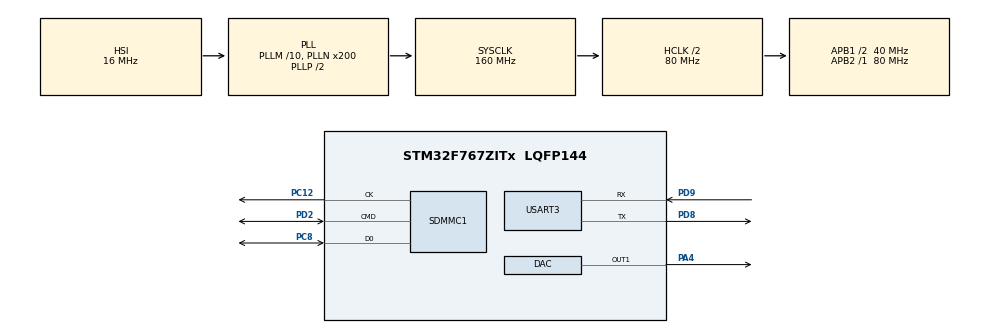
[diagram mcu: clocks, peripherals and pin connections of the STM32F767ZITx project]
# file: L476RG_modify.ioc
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Dma.DAC1.0.Direction=DMA_MEMORY_TO_PERIPH
Dma.DAC1.0.FIFOMode=DMA_FIFOMODE_DISABLE
Dma.DAC1.0.Instance=DMA1_Stream5
Dma.DAC1.0.MemDataAlignment=DMA_MDATAALIGN_HALFWORD
Dma.DAC1.0.MemInc=DMA_MINC_ENABLE
Dma.DAC1.0.Mode=DMA_NORMAL
Dma.DAC1.0.PeriphDataAlignment=DMA_PDATAALIGN_HALFWORD
Dma.DAC1.0.PeriphInc=DMA_PINC_DISABLE
Dma.DAC1.0.Priority=DMA_PRIORITY_LOW
Dma.Request0=DAC1
FATFS._USE_MKFS=1
Mcu.Family=STM32F7
Mcu.Name=STM32F767ZITx
Mcu.Package=LQFP144
NVIC.DMA1_Stream5_IRQn=true\:0\:0\:false\:false\:true\:false\:true\:true
NVIC.PriorityGroup=NVIC_PRIORITYGROUP_4
PA4.Signal=COMP_DAC1_group
PC12.Mode=SD_1_bit
PC12.Signal=SDMMC1_CK
PC8.Mode=SD_1_bit
PC8.Signal=SDMMC1_D0
PD2.Mode=SD_1_bit
PD2.Signal=SDMMC1_CMD
PD8.Mode=Asynchronous
PD8.Signal=USART3_TX
PD9.Mode=Asynchronous
PD9.Signal=USART3_RX
ProjectManager.HeapSize=0x200
ProjectManager.StackSize=0x400
ProjectManager.TargetToolchain=STM32CubeIDE
RCC.AHBCLKDivider=RCC_SYSCLK_DIV2
RCC.AHBFreq_Value=80000000
RCC.APB1CLKDivider=RCC_HCLK_DIV2
RCC.APB1Freq_Value=40000000
RCC.APB1TimFreq_Value=80000000
RCC.APB2Freq_Value=80000000
RCC.APB2TimFreq_Value=80000000
RCC.CortexFreq_Value=80000000
RCC.HCLKFreq_Value=80000000
RCC.HSE_VALUE=25000000
RCC.HSI_VALUE=16000000
RCC.LSE_VALUE=32768
RCC.PLLM=10
RCC.PLLN=200
RCC.PLLQ=8
RCC.PREFETCH_ENABLE=1
RCC.SDMMCClockSelection=RCC_SDMMC1CLKSOURCE_CLK48
RCC.SYSCLKFreq_VALUE=160000000
RCC.SYSCLKSource=RCC_SYSCLKSOURCE_PLLCLK
RCC.USBFreq_Value=40000000
RCC.VCOOutputFreq_Value=320000000
SH.COMP_DAC1_group.0=DAC_OUT1,DAC_OUT1
TIM4.Period=1813
USART3.VirtualMode-Asynchronous=VM_ASYNC
VP_FATFS_VS_SDIO.Mode=SDIO
VP_TIM4_VS_ClockSourceINT.Mode=Internal
board=custom

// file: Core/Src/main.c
/* USER CODE BEGIN Header */
/**
  ******************************************************************************
  * @file           : main.c
  * @brief          : Main program body
  ******************************************************************************
  * @attention
  *
  * Copyright (c) 2025 STMicroelectronics.
  * All rights reserved.
  *
  * This software is licensed under terms that can be found in the LICENSE file
  * in the root directory of this software component.
  * If no LICENSE file comes with this software, it is provided AS-IS.
  *
  ******************************************************************************
  */
/* USER CODE END Header */
#include "main.h"
#include "fatfs.h"

/* USER CODE BEGIN Includes */
#include "stdio.h"
#include <string.h>
#include "wav.h"
/* USER CODE END Includes */

DAC_HandleTypeDef hdac;
DMA_HandleTypeDef hdma_dac1;

SD_HandleTypeDef hsd1;

TIM_HandleTypeDef htim4;

UART_HandleTypeDef huart3;

void SystemClock_Config(void);
static void MX_GPIO_Init(void);
static void MX_DMA_Init(void);
static void MX_DAC_Init(void);
static void MX_SDMMC1_SD_Init(void);
static void MX_TIM4_Init(void);
static void MX_USART3_UART_Init(void);

/* USER CODE BEGIN 0 */

#define BUFSIZE 512

#define MIN(a,b) (((a)<(b))? (a):(b))
typedef void (*funcP)(uint8_t channels, uint16_t numSamples, void *pIn, uint16_t *pOutput);

uint8_t flg_dma_done;

static uint8_t fileBuffer[BUFSIZE];
static uint8_t dmaBuffer[2][BUFSIZE];
static uint8_t dmaBank = 0;

static void
setSampleRate(uint16_t freq)
{
  uint16_t period = (80000000 / freq) - 1;

  htim4.Instance = TIM4;
  htim4.Init.Prescaler = 0;
  htim4.Init.CounterMode = TIM_COUNTERMODE_UP;
  htim4.Init.Period = period;
  htim4.Init.ClockDivision = TIM_CLOCKDIVISION_DIV1;
  htim4.Init.AutoReloadPreload = TIM_AUTORELOAD_PRELOAD_DISABLE;
  HAL_TIM_Base_Init(&htim4);
}

static inline uint16_t
val2Dac8(int32_t v)
{
  uint16_t out = v << 3;
  return out;
}

static inline uint16_t
val2Dac16(int32_t v)
{
  v >>= 4;
  v += 2047;
  return v & 0xfff;
}

static void
prepareDACBuffer_8Bit(uint8_t channels, uint16_t numSamples, void *pIn, uint16_t *pOutput)
{
  uint8_t *pInput = (uint8_t *)pIn;

  for (int i=0; i<numSamples; i++) {
    int32_t val = 0;

    for(int j=0; j<channels; j++) {
      val += *pInput++;
    }
    val /= channels;
    *pOutput++ = val2Dac8(val);
  }
}

static void
prepareDACBuffer_16Bit(uint8_t channels, uint16_t numSamples, void *pIn, uint16_t *pOutput)
{
  int16_t *pInput = (int16_t *)pIn;

  for (int i=0; i<numSamples; i++) {
    int32_t val = 0;

    for(int j=0; j<channels; j++) {
      val += *pInput++;
    }
    val /= channels;
    *pOutput++ = val2Dac16(val);
  }
}

static void
outputSamples(FIL *fil, struct Wav_Header *header)
{
  const uint8_t channels = header->channels;
  const uint8_t bytesPerSample = header->bitsPerSample / 8;

  funcP prepareData = (header->bitsPerSample == 8)? prepareDACBuffer_8Bit : prepareDACBuffer_16Bit;

  flg_dma_done = 1;
  dmaBank = 0;

  uint32_t bytes_last = header->dataChunkLength;

  while(0 < bytes_last) {

    int blksize = (header->bitsPerSample == 8)? MIN(bytes_last, BUFSIZE / 2) : MIN(bytes_last, BUFSIZE);

    UINT bytes_read;
    FRESULT res;

    res = f_read(fil, fileBuffer, blksize, &bytes_read);
    if (res != FR_OK || bytes_read == 0)
      break;

    uint16_t numSamples = bytes_read / bytesPerSample / channels;
    int16_t     *pInput = (int16_t *)fileBuffer;
    uint16_t   *pOutput = (uint16_t *)dmaBuffer[dmaBank];

    prepareData(channels, numSamples, pInput, pOutput);

    // wait for DMA complete
    while(flg_dma_done == 0) {
      __NOP();
    }

    HAL_DAC_Stop_DMA(&hdac, DAC_CHANNEL_1);
    flg_dma_done = 0;
    HAL_DAC_Start_DMA(&hdac, DAC_CHANNEL_1, (uint32_t*)dmaBuffer[dmaBank], numSamples, DAC_ALIGN_12B_R);

    dmaBank = !dmaBank;
    bytes_last -= blksize;
  };

  while(flg_dma_done == 0) {
    __NOP();
  }

  HAL_DAC_Stop_DMA(&hdac, DAC_CHANNEL_1);
}

static uint8_t
isSupprtedWavFile(const struct Wav_Header *header)
{
  if (strncmp(header->riff, "RIFF", 4 ) != 0)
    return 0;

  if (header->vfmt != 1)
    return 0;

  if (strncmp(header->dataChunkHeader, "data", 4 ) != 0)
    return 0;

  return 1;
}

static void
playWavFile(char *filename)
{
  FIL fil;
  FRESULT res;
  UINT count = 0;

  struct Wav_Header header;

  HAL_UART_Transmit(&huart3, (uint8_t*)"Opening file...\r\n", 17, 100);
  res = f_open(&fil, filename, FA_READ);
  if (res != FR_OK){
	  HAL_UART_Transmit(&huart3, (uint8_t*)"Error opening file!\r\n", 21, 100);
    return;
  }
  res = f_read(&fil, &header, sizeof(struct Wav_Header), &count);
  if (res != FR_OK){
	  HAL_UART_Transmit(&huart3, (uint8_t*)"Error reading header!\r\n", 24, 100);
    goto done;
  }

  if (!isSupprtedWavFile(&header)){
	  HAL_UART_Transmit(&huart3, (uint8_t*)"Unsupported WAV format!\r\n", 26, 100);
    goto done;
  }

    HAL_UART_Transmit(&huart3, (uint8_t*)"Playing file...\r\n", 17, 100);
  setSampleRate(header.sampleFreq);
  outputSamples(&fil, &header);

done :
  res = f_close(&fil);
  if (res != FR_OK)
    return;
}

void readTextFileAndSendToUART(const char *filename) {
    FIL fil;
    FRESULT res;
    char buffer[128];  // Buffer to store file data
    UINT bytesRead;

    // Open the file in read mode
    res = f_open(&fil, filename, FA_READ);
    if (res != FR_OK) {
        printf("Error: Cannot open file %s (res = %d)\n", filename, res);
        HAL_UART_Transmit(&huart3, (uint8_t*)"Error opening file!\r\n", 21, 100);
        return;
    }

    printf("Reading file: %s\n", filename);
    HAL_UART_Transmit(&huart3, (uint8_t*)"Reading file...\r\n", 17, 100);

    // Read and send the file content via UART
    while (1) {
        res = f_read(&fil, buffer, sizeof(buffer) - 1, &bytesRead);
        if (res != FR_OK || bytesRead == 0) break; // Exit if read error or EOF

        buffer[bytesRead] = '\0'; // Null-terminate string
        HAL_UART_Transmit(&huart3, (uint8_t*)buffer, bytesRead, 100);
    }

    printf("Finished reading file.\n");
    HAL_UART_Transmit(&huart3, (uint8_t*)"\r\nFinished reading file.\r\n", 26, 100);

    // Close the file
    f_close(&fil);
}
/* USER CODE END 0 */

int main(void)
{

  /* MCU Configuration--------------------------------------------------------*/

  /* Reset of all peripherals, Initializes the Flash interface and the Systick. */
  HAL_Init();

  /* Configure the system clock */
  SystemClock_Config();

  /* Initialize all configured peripherals */
  MX_GPIO_Init();
  MX_DMA_Init();
  MX_DAC_Init();
  MX_SDMMC1_SD_Init();
  MX_TIM4_Init();
  MX_USART3_UART_Init();
  MX_FATFS_Init();
  /* USER CODE BEGIN 2 */

  HAL_TIM_Base_Start(&htim4);

   FATFS FatFs;
   FRESULT res;
   DIR dir;
   FILINFO fno;

   res = f_mount(&FatFs, "", 0);
   if (res != FR_OK){
	 HAL_UART_Transmit(&huart3, (uint8_t*)"Error mounting SD card!\r\n", 26, 100);
     return EXIT_FAILURE;
   }

//   res = f_opendir(&dir, "");
//   if (res != FR_OK)
//     return EXIT_FAILURE;
//
//   while(1) {
//     res = f_readdir(&dir, &fno);
//     if (res != FR_OK || fno.fname[0] == 0)
//       break;
//
//     char *filename = fno.fname;
//
//     if (strstr(filename, ".WAV") != 0) {
//       playWavFile(filename);
//     }
//
//     HAL_Delay(1000);
//   }
//
//   res = f_closedir(&dir);

//   char filename[] = "A.wav";  // กำหนดชื่อไฟล์เอง
//   playWavFile(filename);\

   readTextFileAndSendToUART("test.txt");
  /* USER CODE END 2 */

  /* Infinite loop */
  while (1)
  {

    /* USER CODE BEGIN 3 */
//	  char filename[] = "A.wav";  // กำหนดชื่อไฟล์เอง
//	    playWavFile(filename);

//	    HAL_Delay(1000);
  }
  /* USER CODE END 3 */
}

void SystemClock_Config(void)
{
  RCC_OscInitTypeDef RCC_OscInitStruct = {0};
  RCC_ClkInitTypeDef RCC_ClkInitStruct = {0};

  /** Configure the main internal regulator output voltage
  */
  __HAL_RCC_PWR_CLK_ENABLE();
  __HAL_PWR_VOLTAGESCALING_CONFIG(PWR_REGULATOR_VOLTAGE_SCALE3);

  /** Initializes the RCC Oscillators according to the specified parameters
  * in the RCC_OscInitTypeDef structure.
  */
  RCC_OscInitStruct.OscillatorType = RCC_OSCILLATORTYPE_HSI;
  RCC_OscInitStruct.HSIState = RCC_HSI_ON;
  RCC_OscInitStruct.HSICalibrationValue = RCC_HSICALIBRATION_DEFAULT;
  RCC_OscInitStruct.PLL.PLLState = RCC_PLL_ON;
  RCC_OscInitStruct.PLL.PLLSource = RCC_PLLSOURCE_HSI;
  RCC_OscInitStruct.PLL.PLLM = 10;
  RCC_OscInitStruct.PLL.PLLN = 200;
  RCC_OscInitStruct.PLL.PLLP = RCC_PLLP_DIV2;
  RCC_OscInitStruct.PLL.PLLQ = 8;
  RCC_OscInitStruct.PLL.PLLR = 2;
  if (HAL_RCC_OscConfig(&RCC_OscInitStruct) != HAL_OK)
  {
    Error_Handler();
  }

  /** Initializes the CPU, AHB and APB buses clocks
  */
  RCC_ClkInitStruct.ClockType = RCC_CLOCKTYPE_HCLK|RCC_CLOCKTYPE_SYSCLK
                              |RCC_CLOCKTYPE_PCLK1|RCC_CLOCKTYPE_PCLK2;
  RCC_ClkInitStruct.SYSCLKSource = RCC_SYSCLKSOURCE_PLLCLK;
  RCC_ClkInitStruct.AHBCLKDivider = RCC_SYSCLK_DIV2;
  RCC_ClkInitStruct.APB1CLKDivider = RCC_HCLK_DIV2;
  RCC_ClkInitStruct.APB2CLKDivider = RCC_HCLK_DIV1;

  if (HAL_RCC_ClockConfig(&RCC_ClkInitStruct, FLASH_LATENCY_2) != HAL_OK)
  {
    Error_Handler();
  }
}

static void MX_DAC_Init(void)
{

  DAC_ChannelConfTypeDef sConfig = {0};

  /** DAC Initialization
  */
  hdac.Instance = DAC;
  if (HAL_DAC_Init(&hdac) != HAL_OK)
  {
    Error_Handler();
  }

  /** DAC channel OUT1 config
  */
  sConfig.DAC_Trigger = DAC_TRIGGER_NONE;
  sConfig.DAC_OutputBuffer = DAC_OUTPUTBUFFER_ENABLE;
  if (HAL_DAC_ConfigChannel(&hdac, &sConfig, DAC_CHANNEL_1) != HAL_OK)
  {
    Error_Handler();
  }

}

static void MX_SDMMC1_SD_Init(void)
{

  hsd1.Instance = SDMMC1;
  hsd1.Init.ClockEdge = SDMMC_CLOCK_EDGE_RISING;
  hsd1.Init.ClockBypass = SDMMC_CLOCK_BYPASS_DISABLE;
  hsd1.Init.ClockPowerSave = SDMMC_CLOCK_POWER_SAVE_DISABLE;
  hsd1.Init.BusWide = SDMMC_BUS_WIDE_1B;
  hsd1.Init.HardwareFlowControl = SDMMC_HARDWARE_FLOW_CONTROL_DISABLE;
  hsd1.Init.ClockDiv = 0;

}

static void MX_TIM4_Init(void)
{

  TIM_ClockConfigTypeDef sClockSourceConfig = {0};
  TIM_MasterConfigTypeDef sMasterConfig = {0};

  htim4.Instance = TIM4;
  htim4.Init.Prescaler = 0;
  htim4.Init.CounterMode = TIM_COUNTERMODE_UP;
  htim4.Init.Period = 1813;
  htim4.Init.ClockDivision = TIM_CLOCKDIVISION_DIV1;
  htim4.Init.AutoReloadPreload = TIM_AUTORELOAD_PRELOAD_DISABLE;
  if (HAL_TIM_Base_Init(&htim4) != HAL_OK)
  {
    Error_Handler();
  }
  sClockSourceConfig.ClockSource = TIM_CLOCKSOURCE_INTERNAL;
  if (HAL_TIM_ConfigClockSource(&htim4, &sClockSourceConfig) != HAL_OK)
  {
    Error_Handler();
  }
  sMasterConfig.MasterOutputTrigger = TIM_TRGO_RESET;
  sMasterConfig.MasterSlaveMode = TIM_MASTERSLAVEMODE_DISABLE;
  if (HAL_TIMEx_MasterConfigSynchronization(&htim4, &sMasterConfig) != HAL_OK)
  {
    Error_Handler();
  }

}

static void MX_USART3_UART_Init(void)
{

  huart3.Instance = USART3;
  huart3.Init.BaudRate = 115200;
  huart3.Init.WordLength = UART_WORDLENGTH_8B;
  huart3.Init.StopBits = UART_STOPBITS_1;
  huart3.Init.Parity = UART_PARITY_NONE;
  huart3.Init.Mode = UART_MODE_TX_RX;
  huart3.Init.HwFlowCtl = UART_HWCONTROL_NONE;
  huart3.Init.OverSampling = UART_OVERSAMPLING_16;
  huart3.Init.OneBitSampling = UART_ONE_BIT_SAMPLE_DISABLE;
  huart3.AdvancedInit.AdvFeatureInit = UART_ADVFEATURE_NO_INIT;
  if (HAL_UART_Init(&huart3) != HAL_OK)
  {
    Error_Handler();
  }

}

static void MX_DMA_Init(void)
{

  /* DMA controller clock enable */
  __HAL_RCC_DMA1_CLK_ENABLE();

  /* DMA interrupt init */
  /* DMA1_Stream5_IRQn interrupt configuration */
  HAL_NVIC_SetPriority(DMA1_Stream5_IRQn, 0, 0);
  HAL_NVIC_EnableIRQ(DMA1_Stream5_IRQn);

}

static void MX_GPIO_Init(void)
{

  /* GPIO Ports Clock Enable */
  __HAL_RCC_GPIOA_CLK_ENABLE();
  __HAL_RCC_GPIOD_CLK_ENABLE();
  __HAL_RCC_GPIOC_CLK_ENABLE();

}

/* USER CODE BEGIN 4 */
void HAL_DAC_ConvCpltCallbackCh1(DAC_HandleTypeDef* hdac)
{
	flg_dma_done = 1;
}
/* USER CODE END 4 */

void Error_Handler(void)
{
  __disable_irq();
  while (1)
  {
  }
}
